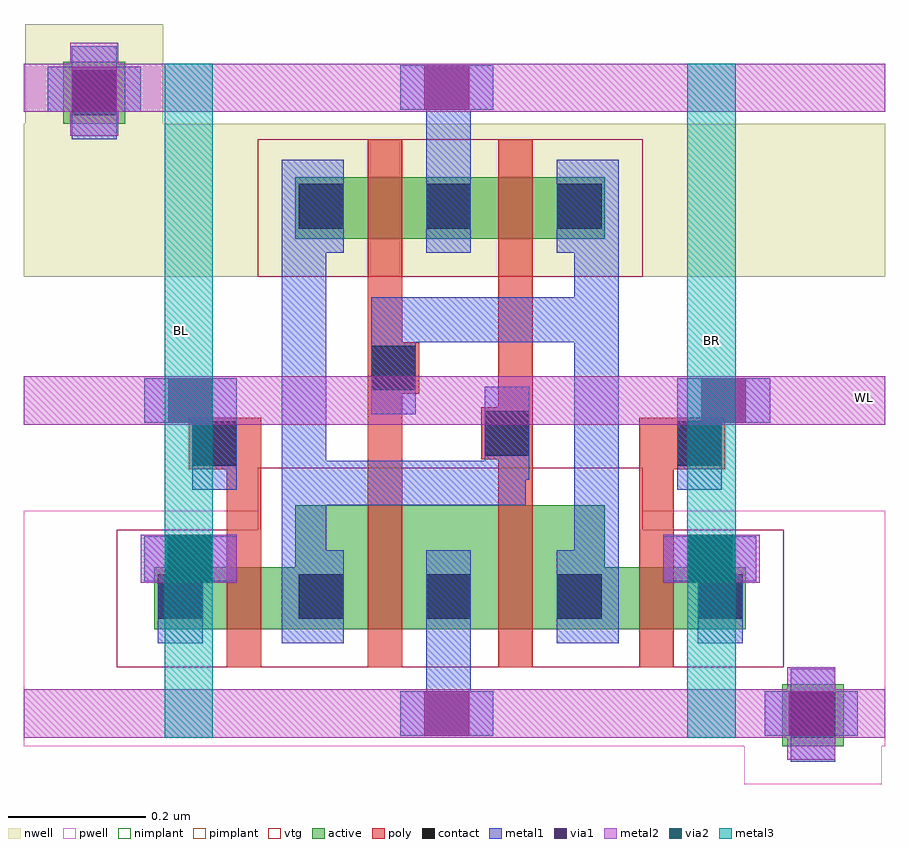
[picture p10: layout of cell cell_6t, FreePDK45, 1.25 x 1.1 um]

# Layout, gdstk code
from math import pi, radians
import gdstk
lib = gdstk.Library(unit=1e-6, precision=5e-10)
def R(c, l, rs):  # rectangles x0, y0, x1, y1
    for r in rs: c.add(gdstk.rectangle(r[:2], r[2:], *l))
def A(c, l, x, y, w, h, nx, ny, dx, dy):  # array of equal rectangles
    R(c, l, [(x+i*dx, y+j*dy, x+i*dx+w, y+j*dy+h) for i in range(nx) for j in range(ny)])
active = (1, 0)
pwell = (2, 0)
nwell = (3, 0)
nimplant = (4, 0)
pimplant = (5, 0)
vtg = (6, 0)
poly = (9, 0)
contact = (10, 0)
metal1 = (11, 0)
via1 = (12, 0)
metal2 = (13, 0)
via2 = (14, 0)
metal3 = (15, 0)

dcont_28 = lib.new_cell('dcont_28')
R(dcont_28, active, [(-0.0375,0.03,0.0375,0.105)])
R(dcont_28, contact, [(-0.0325,0.035,0.0325,0.1)])
R(dcont_28, metal1, [(-0.0325,0,0.0325,0.135)])

pmos_vtg_21 = lib.new_cell('pmos_vtg_21')
R(pmos_vtg_21, active, [(-0.07,0,0.155,0.09), (-0.07,0,0,0.09), (0.08,0,0.155,0.09), (0.08,0.01,0.155,0.085)])
R(pmos_vtg_21, nwell, [(-0.125,-0.055,0.21,0.145)])
R(pmos_vtg_21, pimplant, [(-0.07,0,0.155,0.09)])
R(pmos_vtg_21, vtg, [(-0.125,-0.055,0.21,0.145)])
R(pmos_vtg_21, poly, [(0,-0.055,0.05,0), (0,-0.055,0.05,0.145), (0,0.09,0.05,0.145)])
pmos_vtg_21.add(gdstk.Reference(dcont_28, (0.1175,-0.02)))
pmos_vtg_21.add(gdstk.Label('l = 0.05', (0.06,0.045), layer=239, texttype=0))
pmos_vtg_21.add(gdstk.Label('w = 0.09', (0.025,0.155), layer=239, texttype=0))

m2_m1_via = lib.new_cell('M2_M1_via')
R(m2_m1_via, metal1, [(-0.0675,-0.0325,0.0675,0.0325)])
R(m2_m1_via, via1, [(-0.0325,-0.0325,0.0325,0.0325)])
R(m2_m1_via, metal2, [(-0.035,-0.0675,0.035,0.0675)])

nmos_vtg_22 = lib.new_cell('nmos_vtg_22')
R(nmos_vtg_22, active, [(-0.07,0,0.155,0.09), (-0.07,0,0,0.09), (0.08,0,0.155,0.09), (0.08,0.01,0.155,0.085)])
R(nmos_vtg_22, pwell, [(-0.125,-0.055,0.21,0.145)])
R(nmos_vtg_22, nimplant, [(-0.07,0,0.155,0.09)])
R(nmos_vtg_22, vtg, [(-0.125,-0.055,0.21,0.145)])
R(nmos_vtg_22, poly, [(0,-0.055,0.05,0), (0,-0.055,0.05,0.145), (0,0.09,0.05,0.145)])
nmos_vtg_22.add(gdstk.Reference(dcont_28, (0.1175,-0.02)))
nmos_vtg_22.add(gdstk.Label('l = 0.05', (0.06,0.045), layer=239, texttype=0))
nmos_vtg_22.add(gdstk.Label('w = 0.09', (0.025,0.155), layer=239, texttype=0))

nmos_vtg_23 = lib.new_cell('nmos_vtg_23')
R(nmos_vtg_23, active, [(-0.07,0,0.155,0.18), (-0.07,0,0,0.18), (0.08,0,0.155,0.18), (0.08,0.01,0.155,0.085)])
R(nmos_vtg_23, pwell, [(-0.125,-0.055,0.21,0.235)])
R(nmos_vtg_23, nimplant, [(-0.07,0,0.155,0.18)])
R(nmos_vtg_23, vtg, [(-0.125,-0.055,0.21,0.235)])
R(nmos_vtg_23, poly, [(0,-0.055,0.05,0), (0,-0.055,0.05,0.235), (0,0.18,0.05,0.235)])
nmos_vtg_23.add(gdstk.Reference(dcont_28, (0.1175,-0.02)))
nmos_vtg_23.add(gdstk.Label('l = 0.05', (0.06,0.09), layer=239, texttype=0))
nmos_vtg_23.add(gdstk.Label('w = 0.18', (0.025,0.245), layer=239, texttype=0))

pcont_0 = lib.new_cell('pcont_0')
R(pcont_0, poly, [(-0.0375,-0.0375,0.0375,0.0375)])
R(pcont_0, contact, [(-0.0325,-0.0325,0.0325,0.0325)])
R(pcont_0, metal1, [(-0.0325,-0.0675,0.0325,0.0675)])

m2_m1_viab = lib.new_cell('M2_M1_viaB')
R(m2_m1_viab, metal1, [(-0.0675,-0.0325,0.0675,0.0325)])
R(m2_m1_viab, via1, [(-0.0325,-0.0325,0.0325,0.0325)])
R(m2_m1_viab, metal2, [(-0.0675,-0.035,0.0675,0.035)])

nmos_vtg_10 = lib.new_cell('nmos_vtg_10')
R(nmos_vtg_10, active, [(-0.105,0,0.155,0.18), (-0.105,0,-0.03,0.18), (0.08,0,0.155,0.18), (-0.105,0.01,-0.03,0.085), (0.08,0.01,0.155,0.085)])
R(nmos_vtg_10, pwell, [(-0.16,-0.055,0.21,0.235)])
R(nmos_vtg_10, nimplant, [(-0.105,0,0.155,0.18)])
R(nmos_vtg_10, vtg, [(-0.16,-0.055,0.21,0.235)])
R(nmos_vtg_10, poly, [(0,-0.055,0.05,0), (0,-0.055,0.05,0.235), (0,0.18,0.05,0.235)])
nmos_vtg_10.add(gdstk.Reference(dcont_28, (0.1175,-0.02)))
nmos_vtg_10.add(gdstk.Reference(dcont_28, (-0.0675,-0.02)))
nmos_vtg_10.add(gdstk.Label('l = 0.05', (0.06,0.09), layer=239, texttype=0))
nmos_vtg_10.add(gdstk.Label('w = 0.18', (0.025,0.245), layer=239, texttype=0))

m3_m2_via = lib.new_cell('M3_M2_via')
R(m3_m2_via, metal2, [(-0.035,-0.07,0.035,0.07)])
R(m3_m2_via, via2, [(-0.035,-0.035,0.035,0.035)])
R(m3_m2_via, metal3, [(-0.07,-0.035,0.07,0.035)])

nmos_vtg_24 = lib.new_cell('nmos_vtg_24')
R(nmos_vtg_24, active, [(-0.105,0,0.12,0.09), (-0.105,0,-0.03,0.09), (0.05,0,0.12,0.09), (-0.105,0.01,-0.03,0.085)])
R(nmos_vtg_24, pwell, [(-0.16,-0.055,0.175,0.145)])
R(nmos_vtg_24, nimplant, [(-0.105,0,0.12,0.09)])
R(nmos_vtg_24, vtg, [(-0.16,-0.055,0.175,0.145)])
R(nmos_vtg_24, poly, [(0,-0.055,0.05,0), (0,-0.055,0.05,0.145), (0,0.09,0.05,0.145)])
nmos_vtg_24.add(gdstk.Reference(dcont_28, (-0.0675,-0.02)))
nmos_vtg_24.add(gdstk.Label('l = 0.05', (0.06,0.045), layer=239, texttype=0))
nmos_vtg_24.add(gdstk.Label('w = 0.09', (0.025,0.155), layer=239, texttype=0))

pmos_vtg_25 = lib.new_cell('pmos_vtg_25')
R(pmos_vtg_25, active, [(-0.105,0,0.155,0.09), (-0.105,0,-0.03,0.09), (0.08,0,0.155,0.09), (-0.105,0.01,-0.03,0.085), (0.08,0.01,0.155,0.085)])
R(pmos_vtg_25, nwell, [(-0.16,-0.055,0.21,0.145)])
R(pmos_vtg_25, pimplant, [(-0.105,0,0.155,0.09)])
R(pmos_vtg_25, vtg, [(-0.16,-0.055,0.21,0.145)])
R(pmos_vtg_25, poly, [(0,-0.055,0.05,0), (0,-0.055,0.05,0.145), (0,0.09,0.05,0.145)])
pmos_vtg_25.add(gdstk.Reference(dcont_28, (0.1175,-0.02)))
pmos_vtg_25.add(gdstk.Reference(dcont_28, (-0.0675,-0.02)))
pmos_vtg_25.add(gdstk.Label('l = 0.05', (0.06,0.045), layer=239, texttype=0))
pmos_vtg_25.add(gdstk.Label('w = 0.09', (0.025,0.155), layer=239, texttype=0))

ntap_0 = lib.new_cell('NTAP_0')
R(ntap_0, active, [(-0.045,-0.045,0.045,0.045)])
R(ntap_0, nwell, [(-0.1,-0.1,0.1,0.1)])
R(ntap_0, nimplant, [(-0.045,-0.045,0.045,0.045)])
R(ntap_0, contact, [(-0.0325,-0.0325,0.0325,0.0325)])
R(ntap_0, metal1, [(-0.0325,-0.0675,0.0325,0.0675)])

ptap_1 = lib.new_cell('PTAP_1')
R(ptap_1, active, [(-0.045,-0.045,0.045,0.045)])
R(ptap_1, pwell, [(-0.1,-0.1,0.1,0.1)])
R(ptap_1, pimplant, [(-0.045,-0.045,0.045,0.045)])
R(ptap_1, contact, [(-0.0325,-0.0325,0.0325,0.0325)])
R(ptap_1, metal1, [(-0.0325,-0.0675,0.0325,0.0675)])

cell_6t = lib.new_cell('cell_6t')
R(cell_6t, pwell, [(0,-0.0475,1.2525,0.295)])
R(cell_6t, nwell, [(0,0.635,1.2525,0.8575)])
R(cell_6t, poly, [(0.295,0.2575,0.345,0.43), (0.895,0.2575,0.945,0.43), (0.5,0.33,0.55,0.6575), (0.69,0.3375,0.74,0.6575)])
R(cell_6t, metal1, [(0.585,-0.0325,0.65,0.1075), (0.375,0.1025,0.44,0.805), (0.8,0.1025,0.865,0.805), (0.395,0.3025,0.73,0.3675), (0.505,0.54,0.8475,0.605), (0.585,0.8,0.65,0.9425)])
A(cell_6t, metal2, 0, -0.035, 1.2525, 0.07, 1, 3, 0, 0.455)
R(cell_6t, metal2, [(0.2875,-0.035,0.42,0.035), (0.325,0.875,0.4975,0.945)])
R(cell_6t, metal3, [(0.205,-0.035,0.275,0.945), (0.965,-0.035,1.035,0.945)])
cell_6t.add(gdstk.Reference(pmos_vtg_21, (0.69,0.69)))
cell_6t.add(gdstk.Reference(m2_m1_via, (1.145,0)))
cell_6t.add(gdstk.Reference(m2_m1_via, (0.1025,0.9075)))
cell_6t.add(gdstk.Reference(nmos_vtg_22, (0.895,0.1225)))
cell_6t.add(gdstk.Reference(nmos_vtg_23, (0.69,0.1225)))
cell_6t.add(gdstk.Reference(pcont_0, (0.9825,0.3925), rotation=pi, x_reflection=True))
cell_6t.add(gdstk.Reference(pcont_0, (0.5375,0.5025)))
cell_6t.add(gdstk.Reference(pcont_0, (0.7025,0.4075)))
cell_6t.add(gdstk.Reference(pcont_0, (0.2775,0.3925)))
cell_6t.add(gdstk.Reference(m2_m1_viab, (0.9975,0.225)))
cell_6t.add(gdstk.Reference(m2_m1_viab, (0.2425,0.225)))
cell_6t.add(gdstk.Reference(m2_m1_viab, (1.0175,0.455), rotation=pi, x_reflection=True))
cell_6t.add(gdstk.Reference(m2_m1_viab, (0.615,0)))
cell_6t.add(gdstk.Reference(m2_m1_viab, (0.615,0.91)))
cell_6t.add(gdstk.Reference(m2_m1_viab, (0.2425,0.455)))
cell_6t.add(gdstk.Reference(nmos_vtg_10, (0.5,0.1225)))
cell_6t.add(gdstk.Reference(m3_m2_via, (1,0.225), rotation=pi/2))
cell_6t.add(gdstk.Reference(m3_m2_via, (0.24,0.225), rotation=pi/2))
cell_6t.add(gdstk.Reference(nmos_vtg_24, (0.295,0.1225)))
cell_6t.add(gdstk.Reference(pmos_vtg_25, (0.5,0.69)))
cell_6t.add(gdstk.Reference(ntap_0, (0.1025,0.9025)))
cell_6t.add(gdstk.Reference(ptap_1, (1.1475,-0.0025)))
cell_6t.add(gdstk.Label('WL', (1.2225,0.46), layer=13, texttype=0))
cell_6t.add(gdstk.Label('BL', (0.23,0.5575), layer=15, texttype=0))
cell_6t.add(gdstk.Label('BR', (1,0.5425), layer=15, texttype=0))

lib.write_gds('cell_6t.gds')
